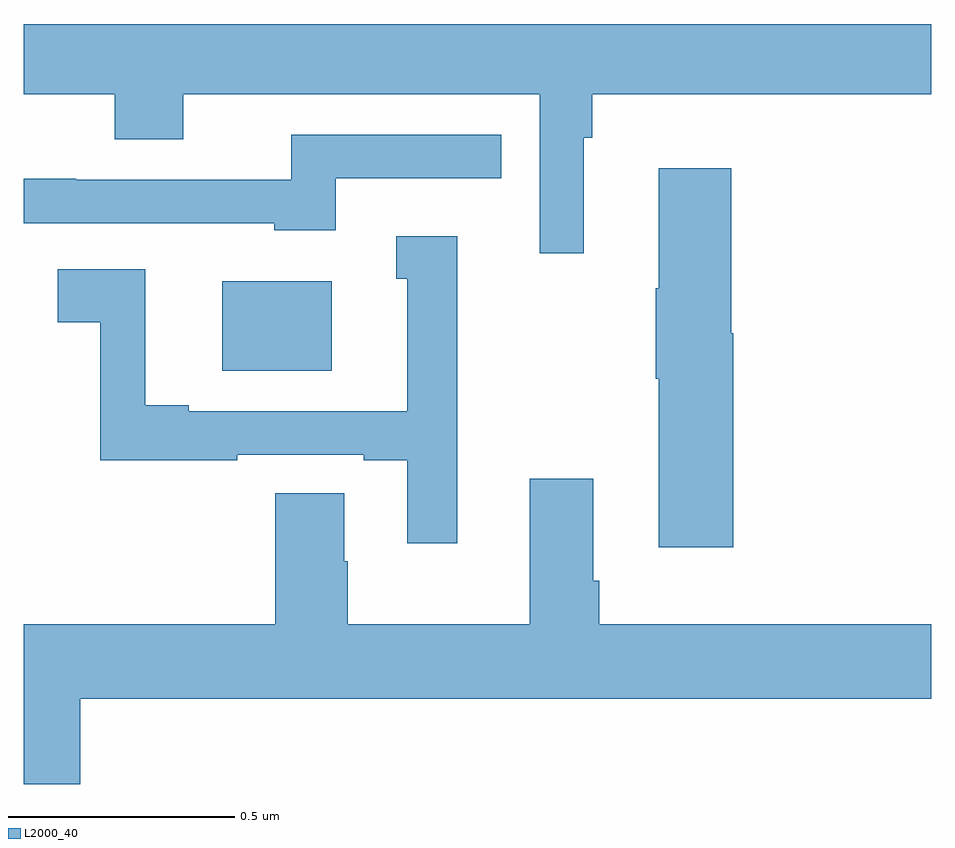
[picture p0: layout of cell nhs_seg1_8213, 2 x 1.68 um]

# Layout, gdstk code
import gdstk
lib = gdstk.Library(unit=1e-6, precision=1e-09)
def R(c, l, rs):  # rectangles x0, y0, x1, y1
    for r in rs: c.add(gdstk.rectangle(r[:2], r[2:], *l))
def P(c, l, *ps):  # polygons
    for p in ps: c.add(gdstk.Polygon(p, *l))
L2000_40 = (2000, 40)

nhs_seg1_8213 = lib.new_cell('nhs_seg1_8213')
R(nhs_seg1_8213, L2000_40, [(213.437,572.435,213.679,572.632)])
P(nhs_seg1_8213, L2000_40, [(214.234,572.948),(214.253,572.948),(214.253,573.044),(215,573.044),(215,573.199),(213,573.199),(213,573.044),(213.2,573.044),(213.2,572.945),(213.352,572.945),(213.352,573.044),(214.137,573.044),(214.137,572.694),(214.234,572.694)],
  [(213.688,572.859),(214.052,572.859),(214.052,572.955),(213.589,572.955),(213.589,572.856),(213.116,572.856),(213.116,572.858),(213,572.858),(213,572.76),(213.552,572.76),(213.552,572.744),(213.688,572.744)],
  [(214.564,572.517),(214.559,572.517),(214.559,572.881),(214.4,572.881),(214.4,572.617),(214.393,572.617),(214.393,572.417),(214.4,572.417),(214.4,572.046),(214.564,572.046)],
  [(213.955,572.731),(213.821,572.731),(213.821,572.637),(213.845,572.637),(213.845,572.346),(213.364,572.346),(213.364,572.359),(213.268,572.359),(213.268,572.658),(213.075,572.658),(213.075,572.542),(213.169,572.542),(213.169,572.238),(213.47,572.238),(213.47,572.25),(213.749,572.25),(213.749,572.238),(213.845,572.238),(213.845,572.055),(213.955,572.055)],
  [(213.124,571.712),(215,571.712),(215,571.876),(214.268,571.876),(214.268,571.972),(214.255,571.972),(214.255,572.197),(214.115,572.197),(214.115,571.876),(213.714,571.876),(213.714,572.015),(213.706,572.015),(213.706,572.165),(213.554,572.165),(213.554,571.876),(213,571.876),(213,571.524),(213.124,571.524)])

lib.write_gds('nhs_seg1_8213.gds')
